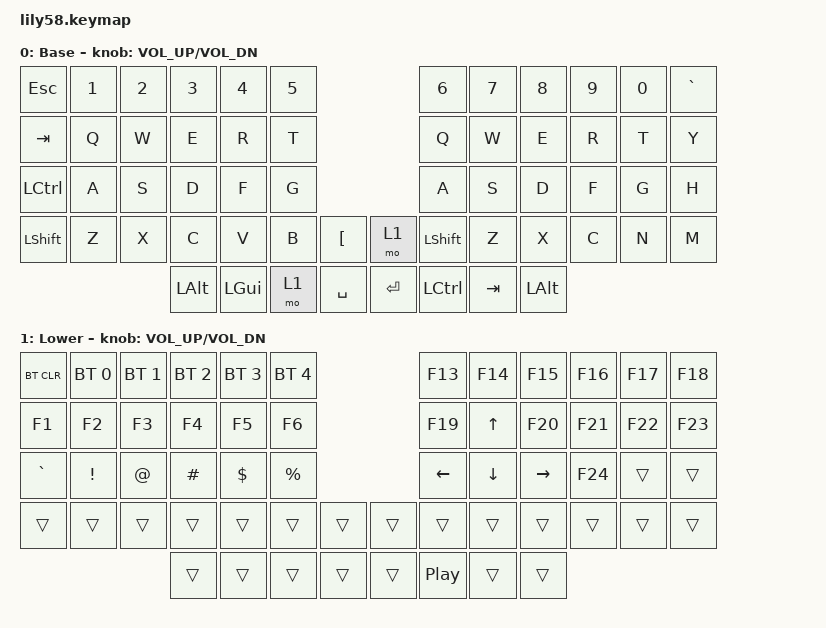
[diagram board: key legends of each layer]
/*
 * Copyright (c) 2020 The ZMK Contributors
 *
 * SPDX-License-Identifier: MIT
 */

#include <behaviors.dtsi>
#include <dt-bindings/zmk/bt.h>
#include <dt-bindings/zmk/keys.h>

/ {
    keymap {
        compatible = "zmk,keymap";

        default_layer {
            // ------------------------------------------------------------------------------------------------------------
            // |  ESC  |  1  |  2  |  3   |  4   |  5   |                   |  6   |  7    |  8    |  9   |   0   |   `   |
            // |  TAB  |  Q  |  W  |  E   |  R   |  T   |                   |  Y   |  U    |  I    |  O   |   P   |   -   |
            // |  CTRL |  A  |  S  |  D   |  F   |  G   |                   |  H   |  J    |  K    |  L   |   ;   |   '   |
            // | SHIFT |  Z  |  X  |  C   |  V   |  B   |   "["  |  |  "]"  |  N   |  M    |  ,    |  .   |   /   | SHIFT |
            //                     | ALT  | GUI  | LOWER|  SPACE |  | ENTER | RAISE| BSPC  | GUI   |

            display-name = "Base";
            bindings = <
&kp ESC    &kp N1  &kp N2  &kp N3    &kp N4    &kp N5                        &kp N6            &kp N7   &kp N8        &kp N9  &kp N0  &kp GRAVE
&kp TAB    &kp Q   &kp W   &kp E     &kp R     &kp T                         &kp Q             &kp W    &kp E         &kp R   &kp T   &kp Y
&kp LCTRL  &kp A   &kp S   &kp D     &kp F     &kp G                         &kp A             &kp S    &kp D         &kp F   &kp G   &kp H
&kp LSHFT  &kp Z   &kp X   &kp C     &kp V     &kp B   &kp LBKT     &mo 1    &kp LEFT_SHIFT    &kp Z    &kp X         &kp C   &kp N   &kp M
                           &kp LALT  &kp LGUI  &mo 1   &kp SPACE    &kp RET  &kp LEFT_CONTROL  &kp TAB  &kp LEFT_ALT
            >;

            sensor-bindings = <&inc_dec_kp C_VOL_UP C_VOL_DN>;
        };

        lower_layer {
            // ------------------------------------------------------------------------------------------------------------
            // | BTCLR | BT1 | BT2 |  BT3 |  BT4 |  BT5 |                   |      |       |       |      |       |       |
            // |  F1   |  F2 |  F3 |  F4  |  F5  |  F6  |                   |  F7  |  F8   |  F9   |  F10 |  F11  |  F12  |
            // |   `   |  !  |  @  |  #   |  $   |  %   |                   |  ^   |  &    |  *    |  (   |   )   |   ~   |
            // |       |     |     |      |      |      |        |  |       |      |  _    |  +    |  {   |   }   |  "|"  |
            //                     |      |      |      |        |  |       |      |       |       |

            display-name = "Lower";
            bindings = <
&bt BT_CLR  &bt BT_SEL 0  &bt BT_SEL 1  &bt BT_SEL 2  &bt BT_SEL 3  &bt BT_SEL 4                    &kp F13           &kp F14         &kp F15          &kp F16  &kp F17  &kp F18
&kp F1      &kp F2        &kp F3        &kp F4        &kp F5        &kp F6                          &kp F19           &kp UP_ARROW    &kp F20          &kp F21  &kp F22  &kp F23
&kp GRAVE   &kp EXCL      &kp AT        &kp HASH      &kp DOLLAR    &kp PRCNT                       &kp LEFT_ARROW    &kp DOWN_ARROW  &kp RIGHT_ARROW  &kp F24  &trans   &trans
&trans      &trans        &trans        &trans        &trans        &trans        &trans    &trans  &trans            &trans          &trans           &trans   &trans   &trans
                                        &trans        &trans        &trans        &trans    &trans  &kp C_PLAY_PAUSE  &trans          &trans
            >;

            sensor-bindings = <&inc_dec_kp C_VOL_UP C_VOL_DN>;
        };
    };
};
